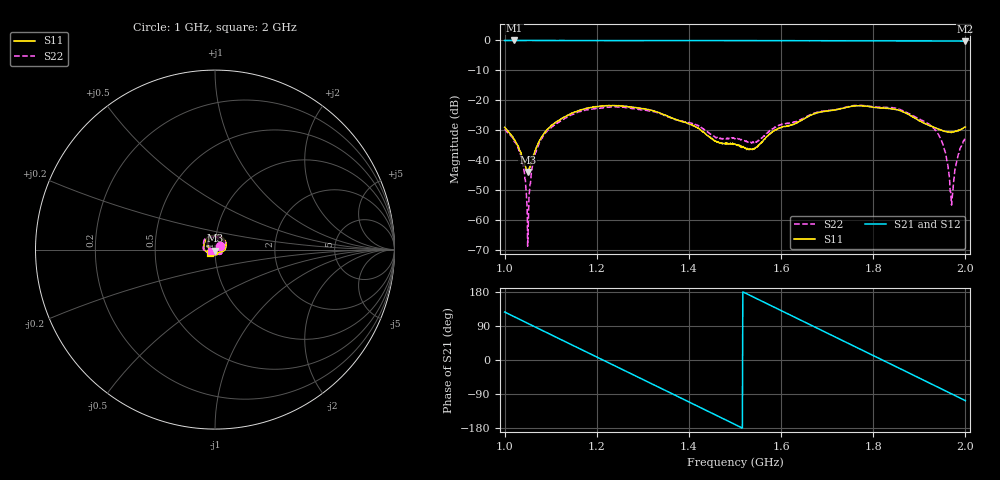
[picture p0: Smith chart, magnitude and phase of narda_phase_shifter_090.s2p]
#  HZ  S  DB  R  50.00
! Rohde & Schwarz Vector Network Analyzer
! Rohde-Schwarz,ZNB8-4Port,1311601044102961,2.82
! Created: UTC 3/4/2022, 4:06:09 PM
! freq[Hz]  db:S11  ang:S11  db:S21  ang:S21  db:S12  ang:S12  db:S22  ang:S22
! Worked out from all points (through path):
!   1001 points, 1 GHz to 2 GHz, reference 50 ohm
!   highest |S21| = -0.14 dB at 1.021 GHz (marker M1); lowest = -0.4 dB at 2 GHz (marker M2)
!   group delay of S21, straight-line fit = 1.65 ns
!   lowest |S11| = -43.9 dB at 1.05 GHz (marker M3), VSWR 1.01, Z = 50.1 - j0.63 ohm
!   |S11| at or under -10 dB: start of sweep to end of sweep
!   |S22| runs from -68.6 to -21.7 dB; largest |S21 - S12| = 0.0027
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1e9  -29.07 28.9  -0.16 126.7  -0.13 126.7  -29.73 32.3
1.021e9  -33.31 11.7  -0.14 114.2  -0.14 114.2  -33.86 15.8
1.038e9  -39.02 -16.5  -0.15 104.0  -0.14 104.1  -40.35 10.0
1.05e9  -43.94 -81.7  -0.15 96.9  -0.14 96.9  -68.64 73.7
1.054e9  -42.44 -111.3  -0.16 94.5  -0.14 94.5  -50.51 167.1
1.063e9  -38.21 -150.6  -0.15 89.2  -0.14 89.2  -39.36 174.3
1.08e9  -32.36 -179.4  -0.15 79.0  -0.15 79.0  -32.87 171.3
1.167e9  -23.20 117.4  -0.19 27.4  -0.18 27.4  -23.60 117.1
1.246e9  -21.87 69.9  -0.20 -19.4  -0.19 -19.4  -22.27 67.7
1.334e9  -24.12 15.5  -0.19 -71.5  -0.20 -71.5  -24.28 14.7
1.411e9  -28.63 -25.9  -0.18 -117.3  -0.18 -117.2  -28.11 -38.4
1.5e9  -34.70 -70.1  -0.20 -170.1  -0.20 -170.1  -32.91 -94.7
1.539e9  -36.20 -93.2  -0.20 166.7  -0.20 166.7  -33.85 -112.3
1.574e9  -31.53 -113.8  -0.21 145.8  -0.20 145.9  -30.48 -128.6
1.667e9  -24.88 -176.3  -0.23 90.7  -0.23 90.7  -24.67 -174.8
1.759e9  -22.01 119.6  -0.27 36.0  -0.26 36.0  -21.81 136.0
1.834e9  -22.82 67.4  -0.28 -8.4  -0.28 -8.4  -22.46 93.5
1.937e9  -29.40 -34.0  -0.32 -69.7  -0.30 -69.7  -30.32 31.7
1.955e9  -30.41 -67.8  -0.32 -80.4  -0.32 -80.4  -36.76 22.4
1.97e9  -30.57 -99.6  -0.34 -89.4  -0.33 -89.3  -54.96 -72.0
1.985e9  -30.26 -126.3  -0.35 -98.3  -0.35 -98.3  -37.88 -154.3
2e9  -28.99 -146.2  -0.37 -107.2  -0.37 -107.2  -32.65 -167.3
